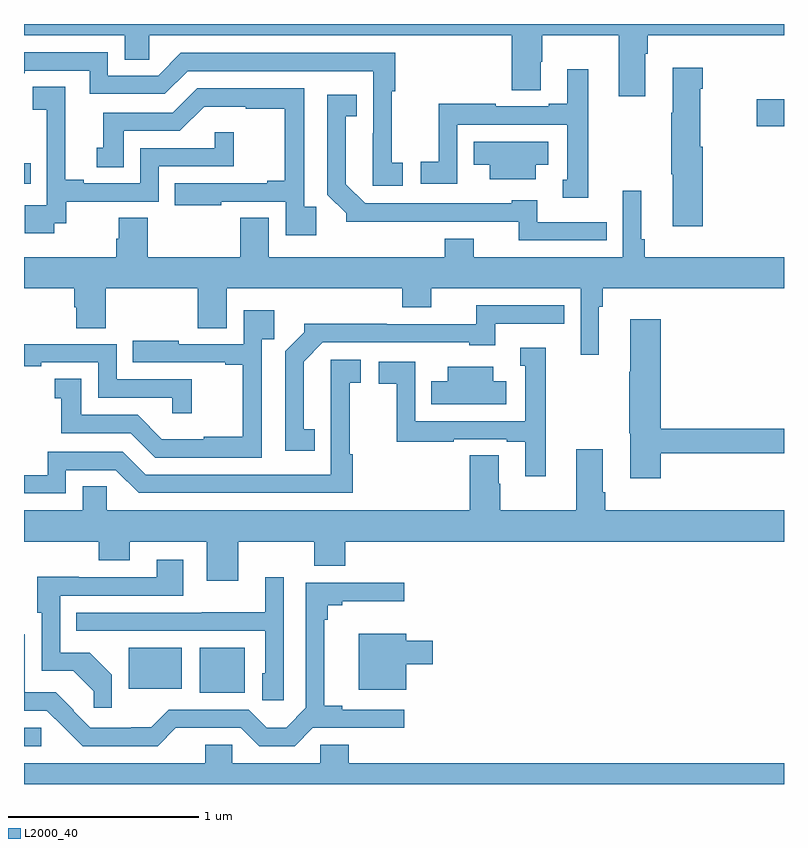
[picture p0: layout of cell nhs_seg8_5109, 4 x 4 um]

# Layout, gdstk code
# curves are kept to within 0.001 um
import gdstk
lib = gdstk.Library(unit=1e-6, precision=1e-09)
def R(c, l, rs):  # rectangles x0, y0, x1, y1
    for r in rs: c.add(gdstk.rectangle(r[:2], r[2:], *l))
def P(c, l, *ps):  # polygons
    for p in ps: c.add(gdstk.Polygon(p, *l))
L2000_40 = (2000, 40)

nhs_seg8_5109 = lib.new_cell('nhs_seg8_5109')
R(nhs_seg8_5109, L2000_40, [(419,1106.1,419.091,1106.196), (419.924,1106.381,420.163,1106.617), (419.552,1106.402,419.83,1106.617), (419,1109.058,419.036,1109.167), (422.856,1109.363,423,1109.505)])
P(nhs_seg8_5109, L2000_40, [(422.269,1109.744),(422.282,1109.744),(422.282,1109.84),(423,1109.84),(423,1109.9),(419,1109.9),(419,1109.84),(419.531,1109.84),(419.531,1109.713),(419.658,1109.713),(419.658,1109.84),(421.568,1109.84),(421.568,1109.551),(421.72,1109.551),(421.72,1109.702),(421.728,1109.702),(421.728,1109.84),(422.129,1109.84),(422.129,1109.52),(422.269,1109.52)],
  [(420.994,1109.169),(420.936,1109.169),(420.936,1109.545),(420.953,1109.545),(420.953,1109.748),(419.826,1109.748),(419.706,1109.628),(419.442,1109.628),(419.442,1109.751),(419,1109.751),(419,1109.64),(419.005,1109.64),(419.005,1109.655),(419.346,1109.655),(419.346,1109.532),(419.742,1109.532),(419.862,1109.652),(420.837,1109.652),(420.836,1109.049),(420.994,1109.049)],
  [(422.573,1109.253),(422.56,1109.253),(422.56,1109.558),(422.573,1109.558),(422.573,1109.671),(422.414,1109.671),(422.414,1109.432),(422.407,1109.432),(422.407,1109.11),(422.414,1109.11),(422.414,1108.836),(422.573,1108.836)],
  [(421.969,1109.662),(421.859,1109.662),(421.859,1109.479),(421.763,1109.479),(421.763,1109.466),(421.484,1109.466),(421.484,1109.479),(421.183,1109.479),(421.183,1109.174),(421.089,1109.174),(421.089,1109.058),(421.281,1109.058),(421.281,1109.37),(421.86,1109.37),(421.86,1109.079),(421.835,1109.079),(421.835,1108.985),(421.969,1108.985)],
  [(419.16,1108.851),(419.222,1108.851),(419.222,1108.965),(419.709,1108.965),(419.709,1109.151),(420.104,1109.151),(420.104,1109.329),(420.003,1109.329),(420.003,1109.247),(419.613,1109.247),(419.613,1109.061),(419.314,1109.061),(419.314,1109.081),(419.218,1109.081),(419.218,1109.459),(419.216,1109.459),(419.216,1109.57),(419.046,1109.57),(419.046,1109.449),(419.12,1109.449),(419.12,1109.251),(419.121,1109.251),(419.121,1108.947),(419.004,1108.947),(419.004,1108.8),(419.16,1108.8)],
  [(420.539,1108.939),(420.474,1108.939),(420.474,1109.562),(419.913,1109.562),(419.784,1109.433),(419.417,1109.433),(419.417,1109.25),(419.384,1109.25),(419.384,1109.146),(419.524,1109.146),(419.524,1109.337),(419.82,1109.337),(419.948,1109.465),(420.167,1109.465),(420.167,1109.454),(420.373,1109.454),(420.373,1109.074),(420.281,1109.074),(420.281,1109.061),(419.794,1109.061),(419.794,1108.946),(420.037,1108.946),(420.037,1108.965),(420.378,1108.965),(420.378,1108.788),(420.539,1108.788)],
  [(422.066,1108.857),(421.702,1108.857),(421.702,1108.972),(421.566,1108.972),(421.566,1108.956),(420.795,1108.956),(420.694,1109.057),(420.694,1109.414),(420.752,1109.414),(420.752,1109.527),(420.597,1109.527),(420.597,1109.002),(420.696,1108.903),(420.696,1108.859),(421.603,1108.86),(421.603,1108.761),(422.066,1108.761)],
  [(421.693,1109.159),(421.759,1109.159),(421.759,1109.281),(421.366,1109.281),(421.366,1109.159),(421.451,1109.159),(421.451,1109.084),(421.693,1109.084)],
  [(419.651,1108.88),(419.498,1108.88),(419.498,1108.77),(419.486,1108.77),(419.486,1108.672),(419,1108.672),(419,1108.508),(419.264,1108.508),(419.264,1108.41),(419.276,1108.41),(419.276,1108.3),(419.429,1108.3),(419.429,1108.508),(419.915,1108.508),(419.915,1108.3),(420.067,1108.3),(420.067,1108.508),(420.992,1108.508),(420.992,1108.409),(421.144,1108.409),(421.144,1108.508),(421.929,1108.508),(421.929,1108.158),(422.026,1108.158),(422.026,1108.412),(422.045,1108.412),(422.045,1108.508),(423,1108.508),(423,1108.672),(422.267,1108.672),(422.267,1108.768),(422.248,1108.768),(422.248,1109.023),(422.151,1109.023),(422.151,1108.672),(421.366,1108.672),(421.366,1108.771),(421.214,1108.771),(421.214,1108.672),(420.289,1108.672),(420.289,1108.88),(420.137,1108.88),(420.137,1108.672),(419.651,1108.672)],
  [(420.53,1107.767),(420.472,1107.767),(420.472,1108.123),(420.573,1108.224),(421.344,1108.224),(421.344,1108.208),(421.48,1108.208),(421.48,1108.323),(421.844,1108.323),(421.844,1108.419),(421.381,1108.419),(421.381,1108.32),(420.908,1108.32),(420.908,1108.322),(420.474,1108.322),(420.474,1108.277),(420.375,1108.178),(420.375,1107.654),(420.53,1107.654)],
  [(420.252,1108.241),(420.317,1108.241),(420.317,1108.393),(420.156,1108.393),(420.156,1108.215),(419.815,1108.215),(419.815,1108.234),(419.572,1108.234),(419.572,1108.119),(420.059,1108.119),(420.059,1108.107),(420.151,1108.107),(420.151,1107.727),(419.945,1107.727),(419.945,1107.715),(419.726,1107.715),(419.598,1107.843),(419.302,1107.843),(419.302,1108.034),(419.162,1108.034),(419.162,1107.931),(419.195,1107.931),(419.195,1107.747),(419.562,1107.747),(419.691,1107.618),(420.252,1107.618)],
  [(422.351,1107.642),(423,1107.642),(423,1107.77),(422.351,1107.77),(422.351,1108.345),(422.192,1108.345),(422.192,1108.07),(422.185,1108.07),(422.185,1107.747),(422.192,1107.747),(422.192,1107.51),(422.351,1107.51)],
  [(419.882,1108.029),(419.487,1108.029),(419.487,1108.215),(419,1108.215),(419,1108.099),(419.092,1108.099),(419.092,1108.119),(419.391,1108.119),(419.391,1107.933),(419.781,1107.933),(419.781,1107.852),(419.882,1107.852)],
  [(421.747,1108.195),(421.613,1108.195),(421.613,1108.101),(421.638,1108.101),(421.638,1107.81),(421.059,1107.81),(421.059,1108.122),(420.867,1108.122),(420.867,1108.006),(420.961,1108.006),(420.961,1107.702),(421.262,1107.702),(421.262,1107.714),(421.541,1107.714),(421.541,1107.702),(421.637,1107.702),(421.637,1107.519),(421.747,1107.519)],
  [(419.22,1107.552),(419.484,1107.552),(419.604,1107.432),(420.731,1107.432),(420.731,1107.635),(420.714,1107.635),(420.714,1108.011),(420.772,1108.011),(420.772,1108.132),(420.614,1108.132),(420.615,1107.528),(419.64,1107.528),(419.52,1107.648),(419.124,1107.648),(419.124,1107.525),(419,1107.525),(419,1107.429),(419.22,1107.429)],
  [(421.537,1108.021),(421.471,1108.021),(421.471,1108.096),(421.229,1108.096),(421.229,1108.021),(421.144,1108.021),(421.144,1107.899),(421.537,1107.899)],
  [(419.309,1107.467),(419.309,1107.34),(419,1107.34),(419,1107.176),(419.393,1107.176),(419.393,1107.077),(419.557,1107.077),(419.557,1107.176),(419.963,1107.176),(419.963,1106.97),(420.127,1106.97),(420.127,1107.176),(420.527,1107.176),(420.527,1107.048),(420.691,1107.048),(420.691,1107.176),(423,1107.176),(423,1107.34),(422.06,1107.34),(422.06,1107.436),(422.047,1107.436),(422.047,1107.661),(421.907,1107.661),(421.907,1107.34),(421.506,1107.34),(421.506,1107.479),(421.498,1107.479),(421.498,1107.629),(421.346,1107.629),(421.346,1107.34),(419.436,1107.34),(419.436,1107.467)],
  [(419.463,1106.476),(419.347,1106.592),(419.19,1106.592),(419.19,1106.892),(419.839,1106.892),(419.839,1107.079),(419.699,1107.079),(419.699,1106.988),(419.287,1106.988),(419.287,1106.99),(419.069,1106.99),(419.069,1106.802),(419.094,1106.802),(419.094,1106.496),(419.26,1106.496),(419.368,1106.388),(419.368,1106.301),(419.463,1106.301)],
  [(420.366,1106.989),(420.269,1106.989),(420.269,1106.803),(419.935,1106.803),(419.935,1106.802),(419.275,1106.802),(419.275,1106.706),(420.27,1106.706),(420.27,1106.484),(420.254,1106.484),(420.254,1106.341),(420.366,1106.341)],
  [(419.798,1106.195),(420.141,1106.196),(420.237,1106.1),(420.424,1106.1),(420.52,1106.196),(421,1106.195),(421,1106.292),(420.676,1106.292),(420.676,1106.312),(420.581,1106.312),(420.581,1106.765),(420.599,1106.765),(420.599,1106.842),(420.676,1106.842),(420.676,1106.861),(421,1106.861),(421,1106.96),(420.787,1106.96),(420.787,1106.958),(420.483,1106.958),(420.483,1106.301),(420.379,1106.197),(420.278,1106.197),(420.183,1106.292),(419.763,1106.292),(419.669,1106.198),(419.564,1106.198),(419.564,1106.196),(419.349,1106.196),(419.259,1106.286),(419.261,1106.288),(419.167,1106.382),(419.004,1106.382),(419.004,1106.689),(419,1106.689),(419,1106.286),(419.121,1106.286),(419.309,1106.1),(419.703,1106.1)],
  [(421.012,1106.531),(421.15,1106.531),(421.15,1106.653),(421.012,1106.653),(421.012,1106.692),(420.761,1106.692),(420.761,1106.396),(421.012,1106.396)],
  [(423,1106.008),(420.71,1106.008),(420.71,1106.106),(420.558,1106.106),(420.558,1106.008),(420.096,1106.008),(420.096,1106.106),(419.954,1106.106),(419.954,1106.008),(419,1106.008),(419,1105.9),(423,1105.9)])

lib.write_gds('nhs_seg8_5109.gds')
